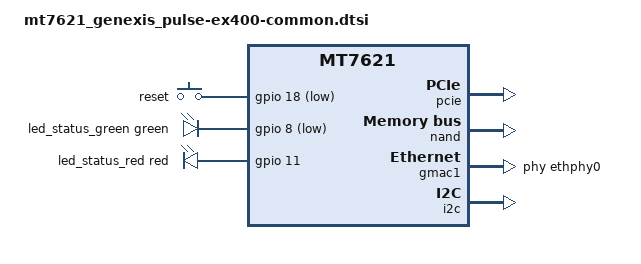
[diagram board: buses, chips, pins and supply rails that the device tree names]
// SPDX-License-Identifier: GPL-2.0-or-later OR MIT

#include "mt7621.dtsi"

#include <dt-bindings/gpio/gpio.h>
#include <dt-bindings/input/input.h>
#include <dt-bindings/leds/common.h>

/ {
	aliases {
		ethernet0 = &gmac0;
		label-mac-device = &gmac0;
	};

	chosen {
		bootargs-override = "console=ttyS0,115200 rootfstype=squashfs,jffs2";
	};

	keys {
		compatible = "gpio-keys";

		reset {
			label = "reset";
			gpios = <&gpio 18 GPIO_ACTIVE_LOW>;
			linux,code = <KEY_RESTART>;
		};
	};

	leds: leds {
		compatible = "gpio-leds";

		led_status_green: led-0 {
			color = <LED_COLOR_ID_GREEN>;
			function = LED_FUNCTION_STATUS;
			gpios = <&gpio 8 GPIO_ACTIVE_LOW>;
		};

		led_status_red: led-1 {
			color = <LED_COLOR_ID_RED>;
			function = LED_FUNCTION_STATUS;
			gpios = <&gpio 11 GPIO_ACTIVE_HIGH>;
		};
	};
};

&pcie {
	status = "okay";
};

&nand {
	status = "okay";

	partitions {
		compatible = "fixed-partitions";
		#address-cells = <1>;
		#size-cells = <1>;

		partition@0 {
			reg = <0x00 0x100000>;
			label = "uboot";
			read-only;
		};

		partition@100000 {
			reg = <0x100000 0xff00000>;
			label = "ubi";
			compatible = "linux,ubi";

			volumes {
				ubi-volume-env1 {
					volname = "env1";

					nvmem-layout {
						compatible = "u-boot,env-redundant-count";

						ethaddr: ethaddr {
							#nvmem-cell-cells = <1>;
						};
					};
				};
			};
		};
	};
};

&gmac1 {
	label = "wan";
	phy-handle = <&ethphy0>;
	nvmem-cells = <&ethaddr 1>;
	nvmem-cell-names = "mac-address";
	status = "okay";
};

&i2c {
	status = "okay";
};

&ethphy0 {
	/delete-property/ interrupts;
};

&state_default {
	gpio {
		groups = "uart2", "uart3";
		function = "gpio";
	};
};

&switch0 {
	ports {
		port@1 {
			label = "lan";
			nvmem-cells = <&ethaddr 0>;
			nvmem-cell-names = "mac-address";
			status = "okay";
		};
	};
};
